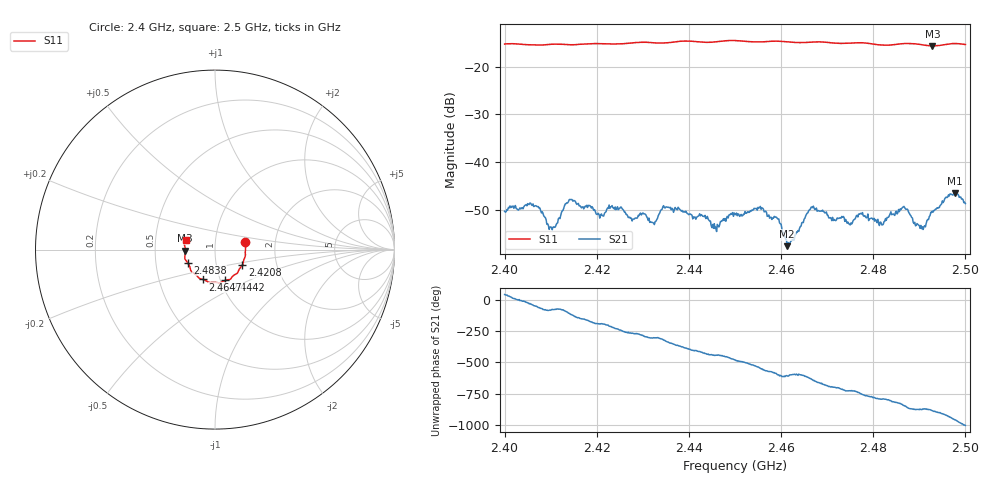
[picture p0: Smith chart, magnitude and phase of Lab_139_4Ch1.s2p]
# Hz S RI R 50
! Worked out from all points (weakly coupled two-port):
!   601 points, 2.4 GHz to 2.5 GHz, reference 50 ohm
!   highest |S21| = -46.47 dB at 2.4977 GHz (marker M1); lowest = -57.6 dB at 2.4613 GHz (marker M2)
!   lowest |S11| = -15.6 dB at 2.4928 GHz (marker M3), VSWR 1.40, Z = 35.8 - j0.376 ohm
!   |S11| at or under -10 dB: start of sweep to end of sweep
!   S12 and S22 are empty: the file has one direction only
!   S11 on the Smith chart (normalised r, x): 2.4 GHz: 1.40, +0.12; 2.4208 GHz: 1.33, -0.24; 2.4442 GHz: 1.05, -0.37; 2.4647 GHz: 0.83, -0.29; 2.4838 GHz: 0.73, -0.11; 2.5 GHz: 0.72, +0.08
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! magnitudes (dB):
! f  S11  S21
! 2.4 GHz  -15.2  -50.3
! 2.406 GHz  -15.4  -49.1
! 2.4102 GHz  -15.3  -53.7
! 2.414 GHz  -15.4  -47.9
! 2.4167 GHz  -15.2  -49.6
! 2.4208 GHz  -15.1  -51.1
! 2.4333 GHz  -15.0  -51.3
! 2.4442 GHz  -14.9  -51.9
! 2.45 GHz  -14.5  -50.9
! 2.4557 GHz  -14.8  -49.9
! 2.4595 GHz  -14.6  -51.9
! 2.4613 GHz  -14.8  -57.6
! 2.4647 GHz  -14.9  -52.6
! 2.4667 GHz  -14.8  -49.4
! 2.4748 GHz  -15.0  -53.1
! 2.4833 GHz  -15.5  -51.6
! 2.4838 GHz  -15.4  -50.4
! 2.487 GHz  -15.1  -49.8
! 2.4907 GHz  -15.4  -53.6
! 2.4928 GHz  -15.6  -50.3
! 2.4977 GHz  -15.1  -46.5
! 2.5 GHz  -15.3  -48.7
